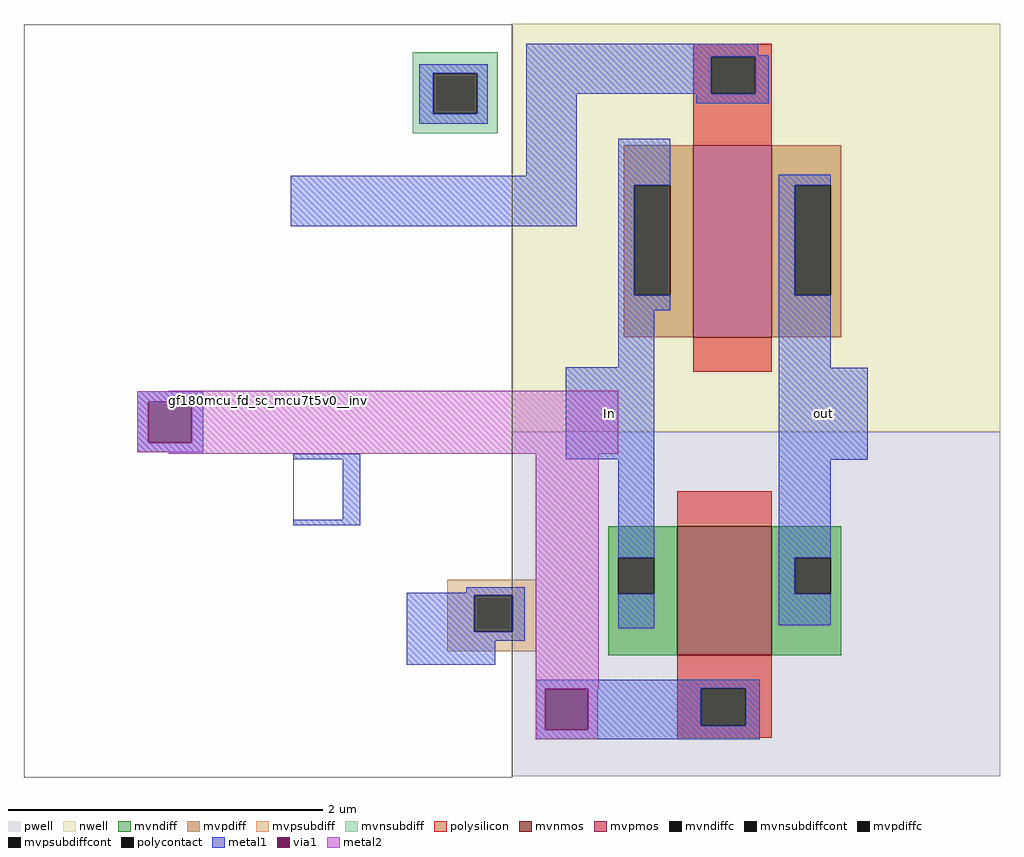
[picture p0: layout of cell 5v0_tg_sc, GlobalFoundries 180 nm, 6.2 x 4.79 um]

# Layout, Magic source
magic
tech gf180mcuD
magscale 1 10
<< nwell >>
rect -86 352 534 870
<< pwell >>
rect -86 -86 534 352
<< mvnmos >>
rect 124 68 244 232
<< mvpmos >>
rect 144 472 244 716
<< mvndiff >>
rect 36 192 124 232
rect 36 146 49 192
rect 95 146 124 192
rect 36 68 124 146
rect 244 192 332 232
rect 244 146 273 192
rect 319 146 332 192
rect 244 68 332 146
<< mvpdiff >>
rect 56 665 144 716
rect 56 525 69 665
rect 115 525 144 665
rect 56 472 144 525
rect 244 665 332 716
rect 244 525 273 665
rect 319 525 332 665
rect 244 472 332 525
<< mvndiffc >>
rect 49 146 95 192
rect 273 146 319 192
<< mvpdiffc >>
rect 69 525 115 665
rect 273 525 319 665
<< mvpsubdiff >>
rect -168 144 -55 164
rect -168 98 -134 144
rect -85 98 -55 144
rect -168 73 -55 98
<< mvnsubdiff >>
rect -212 807 -104 834
rect -212 756 -186 807
rect -130 756 -104 807
rect -212 731 -104 756
<< mvpsubdiffcont >>
rect -134 98 -85 144
<< mvnsubdiffcont >>
rect -186 756 -130 807
<< polysilicon >>
rect 144 828 244 845
rect 144 781 167 828
rect 223 781 244 828
rect 144 716 244 781
rect 144 428 244 472
rect 124 232 244 276
rect 124 26 244 68
rect 124 -22 154 26
rect 211 -22 244 26
rect 124 -37 244 -22
<< polycontact >>
rect 167 781 223 828
rect 154 -22 211 26
<< metal1 >>
rect -68 830 227 845
rect -68 828 240 830
rect -204 807 -117 819
rect -204 756 -186 807
rect -130 756 -117 807
rect -204 743 -117 756
rect -68 781 167 828
rect 223 781 240 828
rect -68 677 -4 781
rect 148 769 240 781
rect -367 613 -4 677
rect 49 665 115 724
rect 49 525 69 665
rect 49 506 115 525
rect 253 665 319 678
rect 253 525 273 665
rect 49 434 95 506
rect -562 390 -478 403
rect -562 338 -548 390
rect -493 338 -478 390
rect -562 326 -478 338
rect -364 317 -279 324
rect -18 317 95 434
rect -364 240 -363 317
rect -301 240 -279 317
rect -364 233 -279 240
rect 49 192 95 317
rect -144 147 -70 154
rect -220 144 -70 147
rect -220 98 -134 144
rect -85 98 -70 144
rect 49 102 95 146
rect 253 433 319 525
rect 253 316 366 433
rect 253 192 319 316
rect 253 146 273 192
rect 253 106 319 146
rect -220 86 -70 98
rect -220 56 -107 86
rect -56 26 229 37
rect -56 25 154 26
rect -56 -27 -44 25
rect 11 -22 154 25
rect 211 -22 229 26
rect 11 -27 229 -22
rect -56 -39 229 -27
<< via1 >>
rect -548 338 -493 390
rect -44 -27 11 25
<< metal2 >>
rect -522 403 49 404
rect -562 390 49 403
rect -562 338 -548 390
rect -493 338 49 390
rect -562 326 49 338
rect -522 324 49 326
rect -56 25 24 324
rect -56 -27 -44 25
rect 11 -27 23 25
rect -56 -39 23 -27
use gf180mcu_fd_sc_mcu7t5v0__inv_1  gf180mcu_fd_sc_mcu7t5v0__inv_1_0 $PDKPATH/libs.ref/gf180mcu_fd_sc_mcu7t5v0/mag
transform 1 0 -620 0 1 -1
box -86 -86 534 870
<< labels >>
rlabel metal1 253 316 366 433 1 out
port 8 n signal bidirectional
rlabel metal1 -18 317 95 434 1 In
port 7 n signal bidirectional
<< properties >>
string FIXED_BBOX 0 0 448 784
string GDS_END 476332
string GDS_FILE $PDKPATH/libs.ref/gf180mcu_fd_sc_mcu7t5v0/gds/gf180mcu_fd_sc_mcu7t5v0.gds
string GDS_START 474136
string LEFclass core
string LEFsite GF018hv5v_mcu_sc7
string LEFsymmetry X Y
<< end >>
